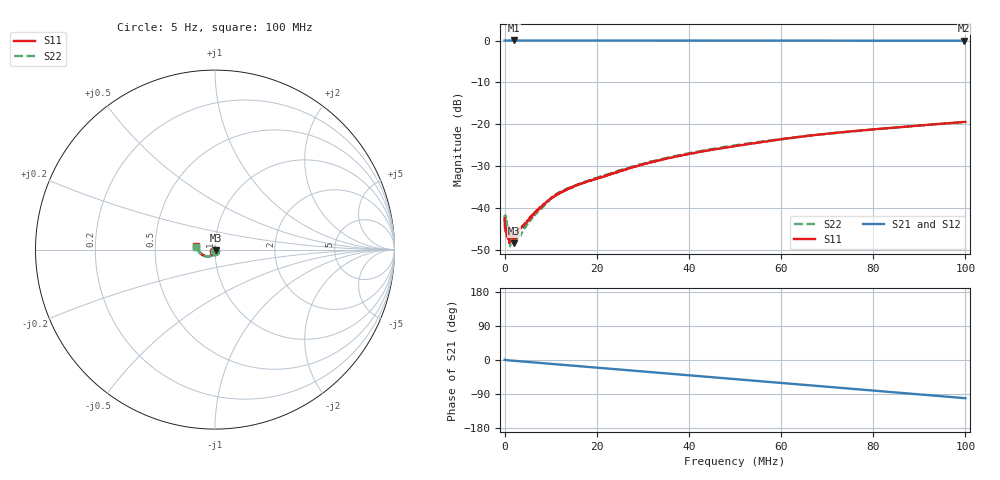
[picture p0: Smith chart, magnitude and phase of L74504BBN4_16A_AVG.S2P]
!Agilent Technologies,E5061B,MY49102235,A.02.00
!Date: Tue Jul 11 16:41:21 2023
!Data & Calibration Information:
!Freq	S11:SOLT2(ON)	S21:SOLT2(ON)	S12:SOLT2(ON)	S22:SOLT2(ON)
# Hz S RI R 50
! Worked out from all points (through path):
!   1600 points, 5 Hz to 100 MHz, reference 50 ohm
!   highest |S21| = 0.02 dB at 1.939 MHz (marker M1); lowest = 0.0 dB at 99.75 MHz (marker M2)
!   group delay of S21, straight-line fit = 2.8 ns
!   lowest |S11| = -48.4 dB at 1.939 MHz (marker M3), VSWR 1.01, Z = 50.3 - j0.218 ohm
!   |S11| at or under -10 dB: start of sweep to end of sweep
!   |S22| runs from -49.0 to -19.4 dB; largest |S21 - S12| = 0.0026
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5  -0.00514 -0.00564  1.002 0.00801  1 0.0102  -0.00152 -0.00756
437778.6  0.00515 -0.000551  1.001 -0.00537  1.001 -0.00613  0.00662 -0.0022
625395.8  0.00508 -0.000574  1.002 -0.0105  1.002 -0.0101  0.00611 -0.000962
938091.3  0.00434 -0.000332  1.001 -0.0151  1.001 -0.0148  0.00592 -0.000897
1500943  0.00437 -0.00238  1.001 -0.025  1.001 -0.0248  0.00305 -0.00353
1938717  0.00314 -0.00217  1.002 -0.0337  1.001 -0.0333  0.00343 -0.0019
2376490  0.00333 -0.00279  0.9998 -0.0414  1 -0.0417  0.00398 -0.00245
3252037  0.00427 -0.00392  0.9993 -0.057  0.9992 -0.0569  0.00318 -0.0034
6003757  0.00338 -0.00736  0.9953 -0.1053  0.9954 -0.105  0.00297 -0.0072
9505946  0.00159 -0.0123  0.987 -0.1667  0.9871 -0.1664  0.00104 -0.0123
1.156974e7  0.000147 -0.015  0.9804 -0.2022  0.9801 -0.202  -0.00068 -0.0151
1.669794e7  -0.00351 -0.0194  0.9575 -0.2897  0.9575 -0.2894  -0.00385 -0.0196
2.582865e7  -0.0103 -0.0266  0.899 -0.4392  0.8988 -0.439  -0.00819 -0.028
3.333334e7  -0.0186 -0.0322  0.8328 -0.5537  0.8327 -0.5533  -0.0172 -0.0335
4.033771e7  -0.0274 -0.0356  0.7581 -0.6516  0.7582 -0.6513  -0.027 -0.037
5.003127e7  -0.0407 -0.0371  0.6362 -0.7707  0.6361 -0.7705  -0.041 -0.0385
6.672921e7  -0.0676 -0.0309  0.385 -0.9207  0.3853 -0.9207  -0.067 -0.0314
7.53596e7  -0.08 -0.0219  0.2413 -0.9675  0.2415 -0.9674  -0.0794 -0.0229
8.33646e7  -0.0898 -0.0102  0.1032 -0.9913  0.1031 -0.9914  -0.0894 -0.0121
9.155722e7  -0.0986 0.00388  -0.0404 -0.9949  -0.0403 -0.995  -0.0986 0.000787
9.974984e7  -0.1052 0.0196  -0.1827 -0.9778  -0.1824 -0.978  -0.1051 0.0166
1e8  -0.1053 0.0201  -0.1869 -0.9772  -0.1868 -0.9773  -0.1055 0.0172
